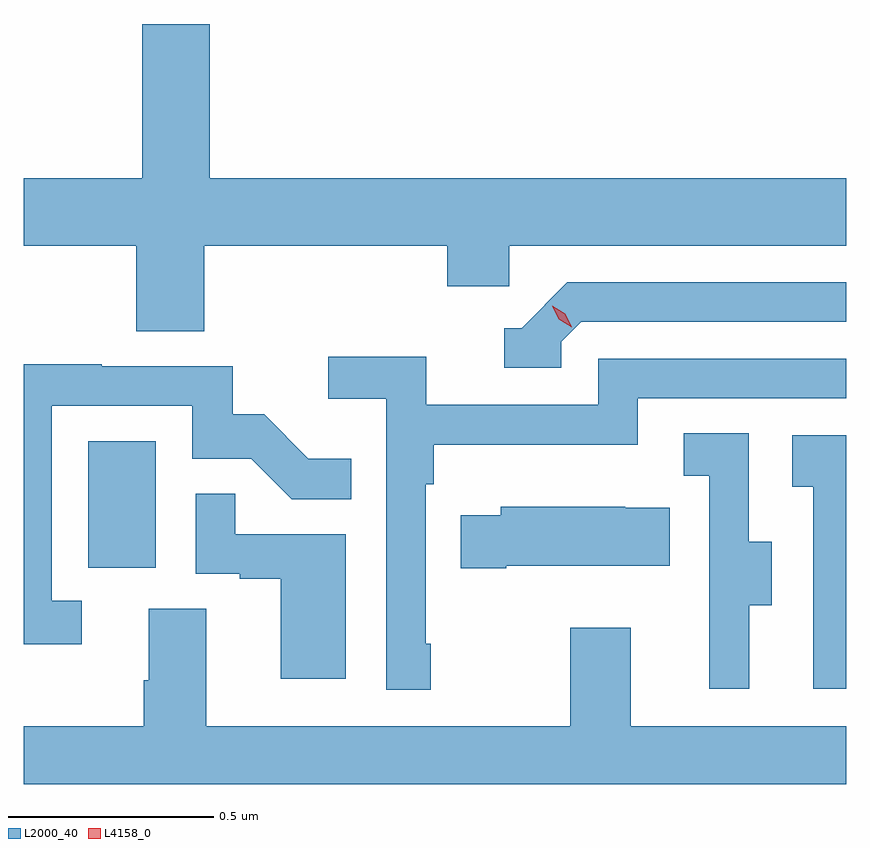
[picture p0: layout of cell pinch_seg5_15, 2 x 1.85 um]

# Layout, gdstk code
import gdstk
lib = gdstk.Library(unit=1e-6, precision=1e-09)
def R(c, l, rs):  # rectangles x0, y0, x1, y1
    for r in rs: c.add(gdstk.rectangle(r[:2], r[2:], *l))
def P(c, l, *ps):  # polygons
    for p in ps: c.add(gdstk.Polygon(p, *l))
L2000_40 = (2000, 40)
L4158_0 = (4158, 0)

pinch_seg5_15 = lib.new_cell('pinch_seg5_15')
R(pinch_seg5_15, L2000_40, [(1141.898,907.926,1142.062,908.233)])
P(pinch_seg5_15, L2000_40, [(1142.18,908.708),(1142.771,908.708),(1142.771,908.61),(1142.922,908.61),(1142.922,908.708),(1143.741,908.708),(1143.741,908.872),(1142.194,908.872),(1142.194,909.247),(1142.03,909.247),(1142.03,908.872),(1141.741,908.872),(1141.741,908.708),(1142.015,908.708),(1142.015,908.5),(1142.18,908.5)],
  [(1143.048,908.475),(1143.096,908.523),(1143.741,908.523),(1143.741,908.619),(1143.063,908.619),(1142.952,908.508),(1142.909,908.508),(1142.909,908.412),(1143.048,908.412)],
  [(1142.731,907.741),(1142.718,907.741),(1142.718,908.129),(1142.738,908.129),(1142.738,908.225),(1143.234,908.225),(1143.234,908.337),(1143.741,908.337),(1143.741,908.433),(1143.138,908.433),(1143.138,908.322),(1142.72,908.322),(1142.72,908.438),(1142.481,908.438),(1142.481,908.336),(1142.622,908.336),(1142.622,907.629),(1142.731,907.629)],
  [(1141.882,907.845),(1141.809,907.845),(1141.809,908.319),(1142.151,908.319),(1142.151,908.19),(1142.295,908.19),(1142.393,908.092),(1142.537,908.092),(1142.537,908.191),(1142.433,908.191),(1142.326,908.298),(1142.25,908.298),(1142.25,908.415),(1141.931,908.415),(1141.931,908.42),(1141.741,908.42),(1141.741,907.74),(1141.882,907.74)],
  [(1143.505,907.834),(1143.559,907.834),(1143.559,907.989),(1143.504,907.989),(1143.504,908.252),(1143.345,908.252),(1143.345,908.149),(1143.408,908.149),(1143.408,907.845),(1143.407,907.845),(1143.407,907.632),(1143.505,907.632)],
  [(1143.741,908.247),(1143.609,908.247),(1143.609,908.123),(1143.66,908.123),(1143.66,907.632),(1143.741,907.632)],
  [(1142.524,908.007),(1142.255,908.007),(1142.255,908.105),(1142.16,908.105),(1142.16,907.911),(1142.267,907.911),(1142.267,907.899),(1142.366,907.899),(1142.366,907.656),(1142.524,907.656)],
  [(1142.914,907.931),(1143.311,907.931),(1143.311,908.071),(1143.203,908.071),(1143.203,908.074),(1142.901,908.074),(1142.901,908.053),(1142.803,908.053),(1142.803,907.924),(1142.914,907.924)],
  [(1143.741,907.54),(1143.217,907.54),(1143.217,907.78),(1143.07,907.78),(1143.07,907.54),(1142.185,907.54),(1142.185,907.826),(1142.045,907.826),(1142.045,907.652),(1142.033,907.652),(1142.033,907.54),(1141.741,907.54),(1141.741,907.4),(1143.741,907.4)])
P(pinch_seg5_15, L4158_0, [(1143.073,908.51),(1143.042,908.53),(1143.026,908.562),(1143.026,908.562),(1143.026,908.562),(1143.057,908.543),(1143.073,908.511),(1143.073,908.51)])

lib.write_gds('pinch_seg5_15.gds')
